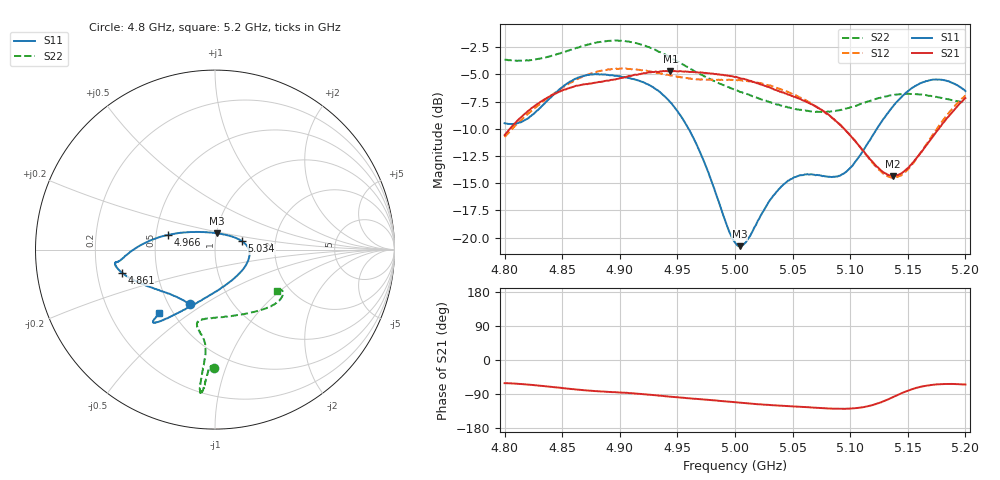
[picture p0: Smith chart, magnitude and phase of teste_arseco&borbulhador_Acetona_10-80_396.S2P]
! Network Analyzer HP8722D
! Hewlett-Packard
! Data name: Linha & Wilkinson
! Saver's name: Rodrigo Anjos
! Comments: Teste da utilização de aquisição
! continua pelo VNA HP8722D
! Time and date: 17/4/2025 17:39
!  Frequency  S11  S21  S12  S22
# HZ  S  MA R 50
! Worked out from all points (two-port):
!   401 points, 4.8 GHz to 5.2 GHz, reference 50 ohm
!   highest |S21| = -4.69 dB at 4.944 GHz (marker M1); lowest = -14.3 dB at 5.137 GHz (marker M2)
!   |S21| within 3 dB of the highest: 4.829 GHz to 5.065 GHz (236.2 MHz wide, 4.77 % of centre); 5.194992 GHz to end of sweep
!   lowest |S11| = -20.8 dB at 5.004 GHz (marker M3), VSWR 1.20, Z = 50.2 + j9.19 ohm
!   |S11| at or under -10 dB: 4.96 GHz to 5.123 GHz (163.4 MHz wide, 3.24 % of centre)
!   |S22| runs from -8.5 to -1.9 dB; largest |S21 - S12| = 0.87
!   S11 on the Smith chart (normalised r, x): 4.8 GHz: 0.64, -0.44; 4.861 GHz: 0.31, -0.11; 4.966 GHz: 0.58, +0.10; 5.034 GHz: 1.35, +0.13; 5.2 GHz: 0.42, -0.39
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4.8e9  0.3353 -114.2  0.2958 -61.1  0.2897 -175.3  0.6573 -90.3
4.819e9  0.35 -134.2  0.3757 -64.5  0.365 -174.1  0.6525 -91.9
4.861e9  0.5354 -166.1  0.4958 -77.5  0.5273 -177.4  0.7383 -94.2
4.867e9  0.5497 -168.4  0.5034 -79.3  0.5459 -178.4  0.7576 -94.4
4.903e9  0.5471 -172.8  0.5428 -86.3  0.5969 174.4  0.8005 -95.9
4.934e9  0.4704 -178.7  0.5777 -94.1  0.5712 171.4  0.713 -96.1
4.944e9  0.4187 176.9  0.5829 -96.9  0.5548 171.7  0.6721 -95.7
4.966e9  0.2726 162.5  0.5738 -102.4  0.5335 173.4  0.5772 -95.3
5e9  0.09484 98.2  0.5464 -111.5  0.5313 175.8  0.4773 -99.2
5.004e9  0.09136 83.5  0.5408 -112.5  0.5285 175.6  0.4678 -100.2
5.011e9  0.09822 59.2  0.5287 -114.6  0.5231 175.5  0.4553 -101.7
5.034e9  0.1573 17.2  0.4788 -119.5  0.4925 174.4  0.4129 -103.5
5.05e9  0.187 1.3  0.4472 -122.2  0.4564 173.8  0.3924 -99.2
5.067e9  0.1951 -16.8  0.4094 -125.2  0.4117 173.3  0.38 -90.1
5.087e9  0.1904 -49.2  0.3459 -128.7  0.3444 173.6  0.3819 -74.8
5.097e9  0.2015 -69.5  0.3065 -128.6  0.3069 174.7  0.3922 -66.7
5.122e9  0.3093 -108.2  0.2149 -116.5  0.2131 -171.2  0.4332 -49.3
5.134e9  0.3815 -117.8  0.1932 -102.3  0.1898 -155.3  0.4492 -43.0
5.137e9  0.3996 -119.6  0.1919 -98.2  0.1887 -150.5  0.452 -41.7
5.15e9  0.4699 -125.2  0.2085 -81.3  0.2051 -130.8  0.4574 -36.9
5.17e9  0.5296 -129.7  0.2826 -66.1  0.2881 -112.2  0.4478 -32.2
5.2e9  0.4709 -131.1  0.4371 -64.9  0.45 -107.0  0.4156 -33.7
